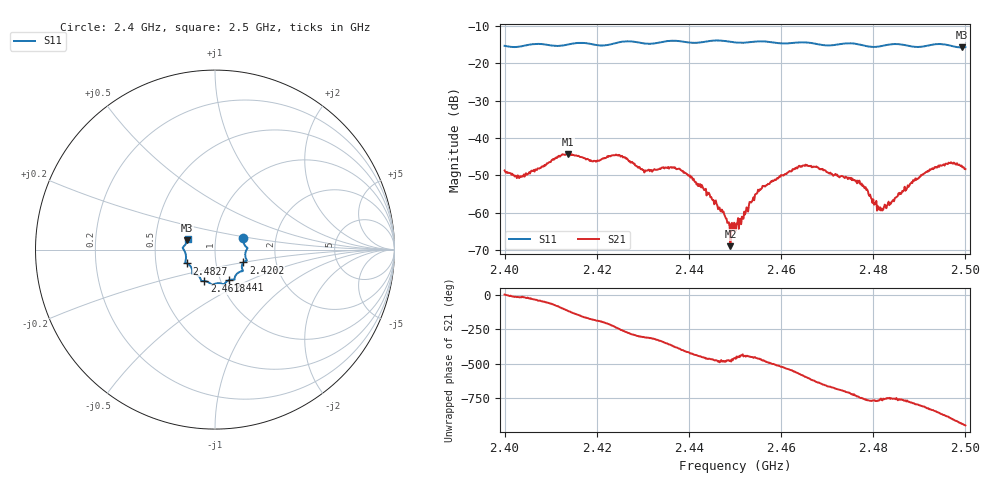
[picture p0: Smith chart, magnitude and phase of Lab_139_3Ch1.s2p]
# Hz S RI R 50
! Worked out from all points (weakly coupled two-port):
!   601 points, 2.4 GHz to 2.5 GHz, reference 50 ohm
!   highest |S21| = -44.26 dB at 2.4137 GHz (marker M1); lowest = -69.0 dB at 2.449 GHz (marker M2)
!   lowest |S11| = -15.8 dB at 2.4993 GHz (marker M3), VSWR 1.39, Z = 36.5 + j3.81 ohm
!   |S11| at or under -10 dB: start of sweep to end of sweep
!   S12 and S22 are empty: the file has one direction only
!   S11 on the Smith chart (normalised r, x): 2.4 GHz: 1.36, +0.18; 2.4202 GHz: 1.36, -0.20; 2.441 GHz: 1.10, -0.39; 2.4618 GHz: 0.84, -0.30; 2.4827 GHz: 0.72, -0.11; 2.5 GHz: 0.73, +0.09
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2.4e9  0.1586 0.0629  0.00366 0.000241  0 0  0 0
2.4035e9  0.1658 0.0242  0.00289 -0.000775  0 0  0 0
2.413667e9  0.1712 -0.0462  -0.0025 -0.00559  0 0  0 0
2.416667e9  0.177 -0.0608  -0.00501 -0.00238  0 0  0 0
2.420167e9  0.1587 -0.0713  -0.00498 0.00057  0 0  0 0
2.4245e9  0.1526 -0.1106  -0.00289 0.00512  0 0  0 0
2.43e9  0.1365 -0.1247  0.00223 0.00298  0 0  0 0
2.433333e9  0.1118 -0.1508  0.00325 0.00196  0 0  0 0
2.4375e9  0.1062 -0.1678  0.00349 -0.00161  0 0  0 0
2.441e9  0.0788 -0.1696  0.00082 -0.00272  0 0  0 0
2.449e9  0.0374 -0.1895  -0.000155 -0.000321  0 0  0 0
2.45e9  0.0287 -0.1873  -9.39e-05 -0.000656  0 0  0 0
2.4555e9  -0.0145 -0.1956  -0.000672 -0.00191  0 0  0 0
2.461833e9  -0.0591 -0.1754  -0.0036 0.000246  0 0  0 0
2.466667e9  -0.0787 -0.1683  -0.000799 0.00397  0 0  0 0
2.4765e9  -0.1275 -0.1277  0.00232 -0.000853  0 0  0 0
2.481333e9  -0.1449 -0.0838  0.000739 -0.000808  0 0  0 0
2.482667e9  -0.156 -0.0771  0.00102 -0.000709  0 0  0 0
2.483333e9  -0.1603 -0.0751  0.00121 -0.000721  0 0  0 0
2.492833e9  -0.1768 0.00407  -0.00185 -0.00346  0 0  0 0
2.499333e9  -0.1541 0.0508  -0.00318 0.00251  0 0  0 0
2.5e9  -0.1523 0.0603  -0.00244 0.00295  0 0  0 0
